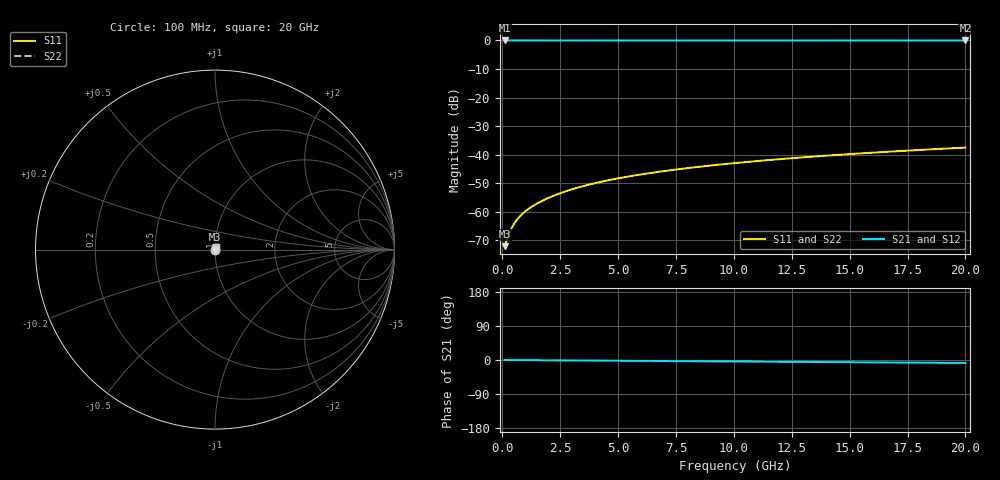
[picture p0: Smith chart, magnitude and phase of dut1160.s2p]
! Touchstone file exported from HFSS 2026.1.0
!  File:  C:/ffzhzh/LocalFiles/Ansys_Project_Files/temp_train_TSV_1160_1783191752_55132.aedt
!  Generated:  03:03:59 AM Jul  5, 2026
!  Design:  TSV
!  Project:  temp_train_TSV_1160_1783191752_55132
! Variables:
!  h_bsmrdl = 2um
!  h_ox = 20um
!  h_rdl = 5um
!  h_sub = 79.85um
!  h_tmrdl = 5um
!  h_tsv = 79.85um
!  h_via = 3um
!  l_bsmrdl = 300um
!  l_sub = 414.12um
!  l_tmrdl = 200um
!  m_sub = 200um
!  pitch = 32.36um
!  r_tsv = 7.06um
!  s_tmrdl = 10um
!  w_bsmrdl = 18um
!  w_sub = 500um
!  w_tmrdl = 12um
!  x_tsv_center1 = 206um
!  x_tsv_center2 = 524um
!  x_tsv_center3 = 736um
!  x_tsv_center4 = 1054um
!  x_tsv_center5 = 1266um
!  x_tsv_center6 = 1584um
# GHz S MA R 50.000000
! Terminal data exported
! Port[1] = TSV1_1_T1
! Port[2] = TSV1_1_T2
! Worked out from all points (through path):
!   200 points, 100 MHz to 20 GHz, reference 50 ohm
!   highest |S21| = 0.00 dB at 100 MHz (marker M1); lowest = 0.0 dB at 20 GHz (marker M2)
!   group delay of S21, straight-line fit = 1.08 ps
!   lowest |S11| = -72.0 dB at 100 MHz (marker M3), VSWR 1.00, Z = 50 + j0.0114 ohm
!   |S11| at or under -10 dB: start of sweep to end of sweep
!   |S22| runs from -72.0 to -37.5 dB; largest |S21 - S12| = 3.6e-15
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0.1  0.0002502 27.1  0.9998 -0.0  0.9998 -0.0  0.0002502 27.1
! Gamma 0 0 0 0
! Port Impedance 50 0 50 0
0.3  0.0004181 52.5  0.9997 -0.1  0.9997 -0.1  0.0004181 52.5
0.4  0.0005137 57.2  0.9997 -0.2  0.9997 -0.2  0.0005137 57.2
0.5  0.0006073 60.0  0.9997 -0.2  0.9997 -0.2  0.0006073 60.0
0.6  0.0006973 61.8  0.9997 -0.2  0.9997 -0.2  0.0006973 61.8
0.8  0.0008663 64.1  0.9996 -0.3  0.9996 -0.3  0.0008663 64.1
0.9  0.0009462 65.0  0.9996 -0.4  0.9996 -0.4  0.0009462 65.0
1.1  0.0011 66.4  0.9996 -0.4  0.9996 -0.4  0.0011 66.4
1.5  0.001395 68.8  0.9995 -0.6  0.9995 -0.6  0.001395 68.8
1.8  0.001612 70.2  0.9995 -0.7  0.9995 -0.7  0.001612 70.2
2.1  0.001828 71.3  0.9994 -0.8  0.9994 -0.8  0.001828 71.3
2.8  0.002328 73.1  0.9994 -1.1  0.9994 -1.1  0.002328 73.1
3.5  0.002822 74.2  0.9993 -1.4  0.9993 -1.4  0.002822 74.2
4.2  0.003307 74.8  0.9992 -1.7  0.9992 -1.7  0.003307 74.8
5  0.003852 75.3  0.9991 -2.0  0.9991 -2.0  0.003852 75.3
5.9  0.004452 75.7  0.9991 -2.3  0.9991 -2.3  0.004452 75.7
6.8  0.005043 75.9  0.999 -2.7  0.999 -2.7  0.005043 75.9
8.3  0.006014 76.2  0.9989 -3.3  0.9989 -3.3  0.006014 76.2
10.1  0.007163 76.3  0.9988 -4.0  0.9988 -4.0  0.007163 76.3
13.4  0.009245 76.2  0.9986 -5.2  0.9986 -5.2  0.009245 76.2
16.7  0.0113 75.6  0.9984 -6.5  0.9984 -6.5  0.0113 75.6
20  0.01331 74.8  0.9982 -7.8  0.9982 -7.8  0.01331 74.8
